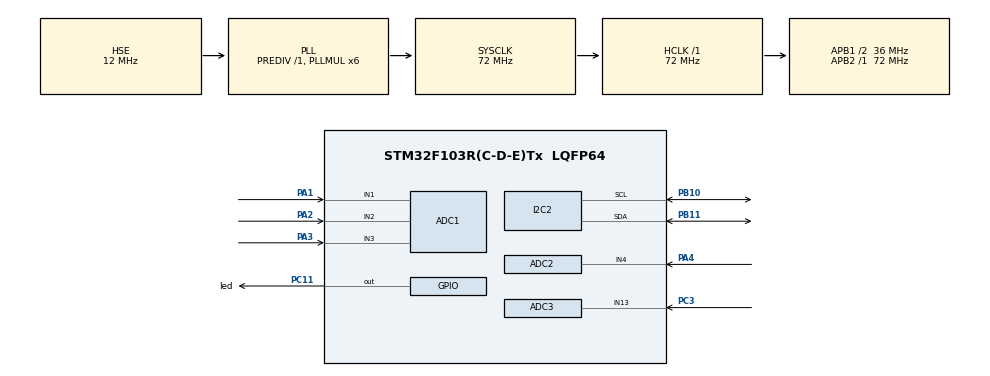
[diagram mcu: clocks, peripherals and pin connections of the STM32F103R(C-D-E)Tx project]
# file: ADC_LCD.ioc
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ADC1.Channel-0\#ChannelRegularConversion=ADC_CHANNEL_3
ADC1.Channel-1\#ChannelRegularConversion=ADC_CHANNEL_1
ADC1.Channel-2\#ChannelRegularConversion=ADC_CHANNEL_2
ADC1.ContinuousConvMode=ENABLE
ADC1.InjNumberOfConversion=0
ADC1.NbrOfConversion=3
ADC1.NbrOfConversionFlag=1
ADC1.Rank-0\#ChannelRegularConversion=1
ADC1.Rank-1\#ChannelRegularConversion=2
ADC1.Rank-2\#ChannelRegularConversion=3
ADC1.SamplingTime-0\#ChannelRegularConversion=ADC_SAMPLETIME_1CYCLE_5
ADC1.SamplingTime-1\#ChannelRegularConversion=ADC_SAMPLETIME_1CYCLE_5
ADC1.SamplingTime-2\#ChannelRegularConversion=ADC_SAMPLETIME_1CYCLE_5
ADC1.master=1
ADC2.Channel-4\#ChannelRegularConversion=ADC_CHANNEL_4
ADC2.NbrOfConversionFlag=1
ADC2.Rank-4\#ChannelRegularConversion=1
ADC2.SamplingTime-4\#ChannelRegularConversion=ADC_SAMPLETIME_1CYCLE_5
ADC3.Channel-4\#ChannelRegularConversion=ADC_CHANNEL_13
ADC3.ContinuousConvMode=DISABLE
ADC3.DataAlign=ADC_DATAALIGN_RIGHT
ADC3.DiscontinuousConvMode=DISABLE
ADC3.EnableAnalogWatchDog=false
ADC3.EnableRegularConversion=ENABLE
ADC3.ExternalTrigConv=ADC_SOFTWARE_START
ADC3.InjNumberOfConversion=0
ADC3.NbrOfConversion=1
ADC3.NbrOfConversionFlag=1
ADC3.Rank-4\#ChannelRegularConversion=1
ADC3.SamplingTime-4\#ChannelRegularConversion=ADC_SAMPLETIME_1CYCLE_5
ADC3.ScanConvMode=ADC_SCAN_DISABLE
Dma.ADC1.0.Direction=DMA_PERIPH_TO_MEMORY
Dma.ADC1.0.Instance=DMA1_Channel1
Dma.ADC1.0.MemDataAlignment=DMA_MDATAALIGN_HALFWORD
Dma.ADC1.0.MemInc=DMA_MINC_ENABLE
Dma.ADC1.0.Mode=DMA_NORMAL
Dma.ADC1.0.PeriphDataAlignment=DMA_PDATAALIGN_HALFWORD
Dma.ADC1.0.PeriphInc=DMA_PINC_DISABLE
Dma.ADC1.0.Priority=DMA_PRIORITY_LOW
Dma.Request0=ADC1
Mcu.Family=STM32F1
Mcu.Name=STM32F103R(C-D-E)Tx
Mcu.Package=LQFP64
NVIC.ADC1_2_IRQn=true\:0\:0\:false\:false\:true\:true
NVIC.ADC3_IRQn=true\:0\:0\:false\:false\:true\:true
NVIC.DMA1_Channel1_IRQn=true\:0\:0\:false\:false\:true\:false
NVIC.PriorityGroup=NVIC_PRIORITYGROUP_4
PA0-WKUP.Mode=SYS_WakeUp0
PA0-WKUP.Signal=SYS_WKUP
PA1.Signal=ADCx_IN1
PA13.Mode=Serial_Wire
PA13.Signal=SYS_JTMS-SWDIO
PA14.Mode=Serial_Wire
PA14.Signal=SYS_JTCK-SWCLK
PA2.Signal=ADCx_IN2
PA3.Signal=ADCx_IN3
PA4.Signal=ADCx_IN4
PB10.Mode=I2C
PB10.Signal=I2C2_SCL
PB11.Mode=I2C
PB11.Signal=I2C2_SDA
PC11.GPIO_Label=led
PC11.Signal=GPIO_Output
PC3.Signal=ADCx_IN13
PD0-OSC_IN.Mode=HSE-External-Oscillator
PD0-OSC_IN.Signal=RCC_OSC_IN
PD1-OSC_OUT.Mode=HSE-External-Oscillator
PD1-OSC_OUT.Signal=RCC_OSC_OUT
ProjectManager.HeapSize=0x200
ProjectManager.StackSize=0x400
ProjectManager.TargetToolchain=MDK-ARM V5
RCC.ADCPresc=RCC_ADCPCLK2_DIV6
RCC.AHBFreq_Value=72000000
RCC.APB1CLKDivider=RCC_HCLK_DIV2
RCC.APB1Freq_Value=36000000
RCC.APB1TimFreq_Value=72000000
RCC.APB2Freq_Value=72000000
RCC.APB2TimFreq_Value=72000000
RCC.HCLKFreq_Value=72000000
RCC.HSE_VALUE=12000000
RCC.PLLMUL=RCC_PLL_MUL6
RCC.PLLSourceVirtual=RCC_PLLSOURCE_HSE
RCC.SYSCLKFreq_VALUE=72000000
RCC.SYSCLKSource=RCC_SYSCLKSOURCE_PLLCLK
RCC.USBFreq_Value=72000000
SH.ADCx_IN1.0=ADC1_IN1,IN1
SH.ADCx_IN13.0=ADC3_IN13,IN13
SH.ADCx_IN2.0=ADC1_IN2,IN2
SH.ADCx_IN3.0=ADC1_IN3,IN3
SH.ADCx_IN4.0=ADC2_IN4,IN4
board=ADC_LCD

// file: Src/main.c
/**
  ******************************************************************************
  * File Name          : main.c
  * Description        : Main program body
  ******************************************************************************
  ** This notice applies to any and all portions of this file
  * that are not between comment pairs USER CODE BEGIN and
  * USER CODE END. Other portions of this file, whether
  * inserted by the user or by software development tools
  * are owned by their respective copyright owners.
  *
  * COPYRIGHT(c) 2020 STMicroelectronics
  *
  * Redistribution and use in source and binary forms, with or without modification,
  * are permitted provided that the following conditions are met:
  *   1. Redistributions of source code must retain the above copyright notice,
  *      this list of conditions and the following disclaimer.
  *   2. Redistributions in binary form must reproduce the above copyright notice,
  *      this list of conditions and the following disclaimer in the documentation
  *      and/or other materials provided with the distribution.
  *   3. Neither the name of STMicroelectronics nor the names of its contributors
  *      may be used to endorse or promote products derived from this software
  *      without specific prior written permission.
  *
  * THIS SOFTWARE IS PROVIDED BY THE COPYRIGHT HOLDERS AND CONTRIBUTORS "AS IS"
  * AND ANY EXPRESS OR IMPLIED WARRANTIES, INCLUDING, BUT NOT LIMITED TO, THE
  * IMPLIED WARRANTIES OF MERCHANTABILITY AND FITNESS FOR A PARTICULAR PURPOSE ARE
  * DISCLAIMED. IN NO EVENT SHALL THE COPYRIGHT HOLDER OR CONTRIBUTORS BE LIABLE
  * FOR ANY DIRECT, INDIRECT, INCIDENTAL, SPECIAL, EXEMPLARY, OR CONSEQUENTIAL
  * DAMAGES (INCLUDING, BUT NOT LIMITED TO, PROCUREMENT OF SUBSTITUTE GOODS OR
  * SERVICES; LOSS OF USE, DATA, OR PROFITS; OR BUSINESS INTERRUPTION) HOWEVER
  * CAUSED AND ON ANY THEORY OF LIABILITY, WHETHER IN CONTRACT, STRICT LIABILITY,
  * OR TORT (INCLUDING NEGLIGENCE OR OTHERWISE) ARISING IN ANY WAY OUT OF THE USE
  * OF THIS SOFTWARE, EVEN IF ADVISED OF THE POSSIBILITY OF SUCH DAMAGE.
  *
  ******************************************************************************
  */

#include "main.h"
#include "stm32f1xx_hal.h"

/* USER CODE BEGIN Includes */
#include "i2c-lcd.h"
#include "stdio.h"
#include "stdbool.h"
/* USER CODE END Includes */

ADC_HandleTypeDef hadc1;
ADC_HandleTypeDef hadc2;
ADC_HandleTypeDef hadc3;
DMA_HandleTypeDef hdma_adc1;

I2C_HandleTypeDef hi2c2;

/* USER CODE BEGIN PV */
/* Private variables ---------------------------------------------------------*/
unsigned char LCD[50];
volatile uint16_t adc1[3] ;
volatile uint16_t adc3 = 0,adc2 =0;
volatile bool start=1;
/* USER CODE END PV */

void SystemClock_Config(void);
static void MX_GPIO_Init(void);
static void MX_DMA_Init(void);
static void MX_ADC1_Init(void);
static void MX_I2C2_Init(void);
static void MX_ADC3_Init(void);
static void MX_ADC2_Init(void);

/* USER CODE BEGIN PFP */
/* Private function prototypes -----------------------------------------------*/
 void sensor(void){
//HAL_ADC_Start(&hadc1);
//	 HAL_ADC_PollForConversion(&hadc1,1000);
//	 adc1_1 =HAL_ADC_GetValue(&hadc1);
//	 	 HAL_ADC_PollForConversion(&hadc1,1000);
//	 adc1_2 =HAL_ADC_GetValue(&hadc1);
//	 	 HAL_ADC_PollForConversion(&hadc1,1000);
//	 adc1_3 =HAL_ADC_GetValue(&hadc1);
//	 HAL_ADC_Stop(&hadc1);
	 HAL_ADC_Start_DMA(&hadc1, (uint32_t*)&adc1,3);
	 HAL_Delay(5);
	 HAL_ADC_Stop_DMA(&hadc1);
 }
/* USER CODE END PFP */

int main(void)
{

  /* MCU Configuration----------------------------------------------------------*/

  /* Reset of all peripherals, Initializes the Flash interface and the Systick. */
  HAL_Init();

  /* Configure the system clock */
  SystemClock_Config();

  /* Initialize all configured peripherals */
  MX_GPIO_Init();
  MX_DMA_Init();
  MX_ADC1_Init();
  MX_I2C2_Init();
  MX_ADC3_Init();
  MX_ADC2_Init();

  /* USER CODE BEGIN 2 */
lcd_init();
//HAL_ADC_Start_IT(&hadc1);
//lcd_goto_XY(1,0);
//lcd_send_string("AGV");
lcd_clear_display();
HAL_ADC_Start_IT(&hadc3);
//HAL_ADC_Start_IT(&hadc2);

  /* USER CODE END 2 */

  /* Infinite loop */
  while (1)
  {

  /* USER CODE BEGIN 3 */
		while(start){
sensor();
		HAL_Delay(100);
		lcd_goto_XY(1,6);
		lcd_send_string("AGV");
		sprintf(LCD,"%d %d %d", adc1[1],adc1[2],adc1[0]);
		lcd_goto_XY(2,0);
		lcd_send_string(LCD);
		HAL_Delay(500);
		lcd_clear_display();
		HAL_Delay(1);
		}

//void HAL_ADC_ConvCpltCallback(ADC_HandleTypeDef* hadc)
//{
//if (hadc->Instance==hadc3.Instance){
//	adc3 = HAL_ADC_GetValue(&hadc3);
//	if(adc3>3000){
//		HAL_GPIO_WritePin(led_GPIO_Port,led_Pin,1);
//		start =0;
////		lcd_clear_display();
//		lcd_goto_XY(1,0);
//		lcd_send_string("!!!!!!ERROR!!!!!");
//		lcd_goto_XY(2,0);
//		lcd_send_string("!!!CO VAT CAN!!!");
//
//	}
//	else {
//		HAL_GPIO_WritePin(led_GPIO_Port,led_Pin,0);
//		start=1;
////		HAL_ADC_Start_IT(&hadc3);
//	}
//}
//HAL_ADC_Start_IT(&hadc3);
//}
  }
  /* USER CODE END 3 */

}

/** System Clock Configuration
*/
void HAL_ADC_ConvCpltCallback(ADC_HandleTypeDef* hadc)
{
if (hadc->Instance==hadc3.Instance| hadc->Instance==hadc2.Instance){
	adc2 = HAL_ADC_GetValue(&hadc2);
	adc3 = HAL_ADC_GetValue(&hadc3);
//	HAL_ADC_Stop_IT(&hadc3);
//	HAL_ADC_Stop_IT(&hadc2);
//	if(adc3>3000){
//		HAL_GPIO_WritePin(led_GPIO_Port,led_Pin,1);
//		start =0;
////		lcd_clear_display();
//		lcd_goto_XY(1,0);
//		lcd_send_string("!!!!!!ERROR!!!!!");
//		lcd_goto_XY(2,0);
//		lcd_send_string("!!!CO VAT CAN!!!");
//		}
//	else {
//		HAL_GPIO_WritePin(led_GPIO_Port,led_Pin,0);
//		start=1;

//	}
//			if(adc2>3000){
//			HAL_GPIO_WritePin(led_GPIO_Port,led_Pin,1);
//			start =0;
//	//		lcd_clear_display();
//			lcd_goto_XY(1,0);
//			lcd_send_string("!!!!!!ERROR!!!!!");
//			lcd_goto_XY(2,0);
//			lcd_send_string("!!!!PIN YEU!!!!");
//
//		}
//		else {
//			HAL_GPIO_WritePin(led_GPIO_Port,led_Pin,0);
//			start=1;
//
//		}
//
//}
//	if (hadc->Instance==hadc2.Instance){
//		adc2 = HAL_ADC_GetValue(&hadc2);
//		HAL_ADC_Stop_IT(&hadc3);
//		HAL_ADC_Stop_IT(&hadc2);
//
//		if(adc2>3000){
//			HAL_GPIO_WritePin(led_GPIO_Port,led_Pin,1);
//			start =0;
//	//		lcd_clear_display();
//			lcd_goto_XY(1,0);
//			lcd_send_string("!!!!!!ERROR!!!!!");
//			lcd_goto_XY(2,0);
//			lcd_send_string("!!!!PIN YEU!!!!");
//
//		}
//		else {
//			HAL_GPIO_WritePin(led_GPIO_Port,led_Pin,0);
//			start=1;
//
//		}
//	}
////	HAL_ADC_Start_IT(&hadc2);
	HAL_ADC_Start_IT(&hadc3);
	HAL_ADC_Start_IT(&hadc2);
}
}
void SystemClock_Config(void)
{

  RCC_OscInitTypeDef RCC_OscInitStruct;
  RCC_ClkInitTypeDef RCC_ClkInitStruct;
  RCC_PeriphCLKInitTypeDef PeriphClkInit;

    /**Initializes the CPU, AHB and APB busses clocks
    */
  RCC_OscInitStruct.OscillatorType = RCC_OSCILLATORTYPE_HSE;
  RCC_OscInitStruct.HSEState = RCC_HSE_ON;
  RCC_OscInitStruct.HSEPredivValue = RCC_HSE_PREDIV_DIV1;
  RCC_OscInitStruct.HSIState = RCC_HSI_ON;
  RCC_OscInitStruct.PLL.PLLState = RCC_PLL_ON;
  RCC_OscInitStruct.PLL.PLLSource = RCC_PLLSOURCE_HSE;
  RCC_OscInitStruct.PLL.PLLMUL = RCC_PLL_MUL6;
  if (HAL_RCC_OscConfig(&RCC_OscInitStruct) != HAL_OK)
  {
    _Error_Handler(__FILE__, __LINE__);
  }

    /**Initializes the CPU, AHB and APB busses clocks
    */
  RCC_ClkInitStruct.ClockType = RCC_CLOCKTYPE_HCLK|RCC_CLOCKTYPE_SYSCLK
                              |RCC_CLOCKTYPE_PCLK1|RCC_CLOCKTYPE_PCLK2;
  RCC_ClkInitStruct.SYSCLKSource = RCC_SYSCLKSOURCE_PLLCLK;
  RCC_ClkInitStruct.AHBCLKDivider = RCC_SYSCLK_DIV1;
  RCC_ClkInitStruct.APB1CLKDivider = RCC_HCLK_DIV2;
  RCC_ClkInitStruct.APB2CLKDivider = RCC_HCLK_DIV1;

  if (HAL_RCC_ClockConfig(&RCC_ClkInitStruct, FLASH_LATENCY_2) != HAL_OK)
  {
    _Error_Handler(__FILE__, __LINE__);
  }

  PeriphClkInit.PeriphClockSelection = RCC_PERIPHCLK_ADC;
  PeriphClkInit.AdcClockSelection = RCC_ADCPCLK2_DIV6;
  if (HAL_RCCEx_PeriphCLKConfig(&PeriphClkInit) != HAL_OK)
  {
    _Error_Handler(__FILE__, __LINE__);
  }

    /**Configure the Systick interrupt time
    */
  HAL_SYSTICK_Config(HAL_RCC_GetHCLKFreq()/1000);

    /**Configure the Systick
    */
  HAL_SYSTICK_CLKSourceConfig(SYSTICK_CLKSOURCE_HCLK);

  /* SysTick_IRQn interrupt configuration */
  HAL_NVIC_SetPriority(SysTick_IRQn, 0, 0);
}

/* ADC1 init function */
static void MX_ADC1_Init(void)
{

  ADC_ChannelConfTypeDef sConfig;

    /**Common config
    */
  hadc1.Instance = ADC1;
  hadc1.Init.ScanConvMode = ADC_SCAN_ENABLE;
  hadc1.Init.ContinuousConvMode = ENABLE;
  hadc1.Init.DiscontinuousConvMode = DISABLE;
  hadc1.Init.ExternalTrigConv = ADC_SOFTWARE_START;
  hadc1.Init.DataAlign = ADC_DATAALIGN_RIGHT;
  hadc1.Init.NbrOfConversion = 3;
  if (HAL_ADC_Init(&hadc1) != HAL_OK)
  {
    _Error_Handler(__FILE__, __LINE__);
  }

    /**Configure Regular Channel
    */
  sConfig.Channel = ADC_CHANNEL_3;
  sConfig.Rank = 1;
  sConfig.SamplingTime = ADC_SAMPLETIME_1CYCLE_5;
  if (HAL_ADC_ConfigChannel(&hadc1, &sConfig) != HAL_OK)
  {
    _Error_Handler(__FILE__, __LINE__);
  }

    /**Configure Regular Channel
    */
  sConfig.Channel = ADC_CHANNEL_1;
  sConfig.Rank = 2;
  if (HAL_ADC_ConfigChannel(&hadc1, &sConfig) != HAL_OK)
  {
    _Error_Handler(__FILE__, __LINE__);
  }

    /**Configure Regular Channel
    */
  sConfig.Channel = ADC_CHANNEL_2;
  sConfig.Rank = 3;
  if (HAL_ADC_ConfigChannel(&hadc1, &sConfig) != HAL_OK)
  {
    _Error_Handler(__FILE__, __LINE__);
  }

}

/* ADC2 init function */
static void MX_ADC2_Init(void)
{

  ADC_ChannelConfTypeDef sConfig;

    /**Common config
    */
  hadc2.Instance = ADC2;
  hadc2.Init.ScanConvMode = ADC_SCAN_DISABLE;
  hadc2.Init.ContinuousConvMode = DISABLE;
  hadc2.Init.DiscontinuousConvMode = DISABLE;
  hadc2.Init.ExternalTrigConv = ADC_SOFTWARE_START;
  hadc2.Init.DataAlign = ADC_DATAALIGN_RIGHT;
  hadc2.Init.NbrOfConversion = 1;
  if (HAL_ADC_Init(&hadc2) != HAL_OK)
  {
    _Error_Handler(__FILE__, __LINE__);
  }

    /**Configure Regular Channel
    */
  sConfig.Channel = ADC_CHANNEL_4;
  sConfig.Rank = 1;
  sConfig.SamplingTime = ADC_SAMPLETIME_1CYCLE_5;
  if (HAL_ADC_ConfigChannel(&hadc2, &sConfig) != HAL_OK)
  {
    _Error_Handler(__FILE__, __LINE__);
  }

}

/* ADC3 init function */
static void MX_ADC3_Init(void)
{

  ADC_ChannelConfTypeDef sConfig;

    /**Common config
    */
  hadc3.Instance = ADC3;
  hadc3.Init.ScanConvMode = ADC_SCAN_DISABLE;
  hadc3.Init.ContinuousConvMode = DISABLE;
  hadc3.Init.DiscontinuousConvMode = DISABLE;
  hadc3.Init.ExternalTrigConv = ADC_SOFTWARE_START;
  hadc3.Init.DataAlign = ADC_DATAALIGN_RIGHT;
  hadc3.Init.NbrOfConversion = 1;
  if (HAL_ADC_Init(&hadc3) != HAL_OK)
  {
    _Error_Handler(__FILE__, __LINE__);
  }

    /**Configure Regular Channel
    */
  sConfig.Channel = ADC_CHANNEL_13;
  sConfig.Rank = 1;
  sConfig.SamplingTime = ADC_SAMPLETIME_1CYCLE_5;
  if (HAL_ADC_ConfigChannel(&hadc3, &sConfig) != HAL_OK)
  {
    _Error_Handler(__FILE__, __LINE__);
  }

}

/* I2C2 init function */
static void MX_I2C2_Init(void)
{

  hi2c2.Instance = I2C2;
  hi2c2.Init.ClockSpeed = 100000;
  hi2c2.Init.DutyCycle = I2C_DUTYCYCLE_2;
  hi2c2.Init.OwnAddress1 = 0;
  hi2c2.Init.AddressingMode = I2C_ADDRESSINGMODE_7BIT;
  hi2c2.Init.DualAddressMode = I2C_DUALADDRESS_DISABLE;
  hi2c2.Init.OwnAddress2 = 0;
  hi2c2.Init.GeneralCallMode = I2C_GENERALCALL_DISABLE;
  hi2c2.Init.NoStretchMode = I2C_NOSTRETCH_DISABLE;
  if (HAL_I2C_Init(&hi2c2) != HAL_OK)
  {
    _Error_Handler(__FILE__, __LINE__);
  }

}

static void MX_DMA_Init(void)
{
  /* DMA controller clock enable */
  __HAL_RCC_DMA1_CLK_ENABLE();

  /* DMA interrupt init */
  /* DMA1_Channel1_IRQn interrupt configuration */
  HAL_NVIC_SetPriority(DMA1_Channel1_IRQn, 0, 0);
  HAL_NVIC_EnableIRQ(DMA1_Channel1_IRQn);

}

/** Configure pins as
        * Analog
        * Input
        * Output
        * EVENT_OUT
        * EXTI
*/
static void MX_GPIO_Init(void)
{

  GPIO_InitTypeDef GPIO_InitStruct;

  /* GPIO Ports Clock Enable */
  __HAL_RCC_GPIOD_CLK_ENABLE();
  __HAL_RCC_GPIOC_CLK_ENABLE();
  __HAL_RCC_GPIOA_CLK_ENABLE();
  __HAL_RCC_GPIOB_CLK_ENABLE();

  /*Configure GPIO pin Output Level */
  HAL_GPIO_WritePin(led_GPIO_Port, led_Pin, GPIO_PIN_RESET);

  /*Configure GPIO pin : led_Pin */
  GPIO_InitStruct.Pin = led_Pin;
  GPIO_InitStruct.Mode = GPIO_MODE_OUTPUT_PP;
  GPIO_InitStruct.Speed = GPIO_SPEED_FREQ_LOW;
  HAL_GPIO_Init(led_GPIO_Port, &GPIO_InitStruct);

}

void _Error_Handler(char * file, int line)
{
  while(1)
  {
  }
}

/************************ (C) COPYRIGHT STMicroelectronics *****END OF FILE****/
